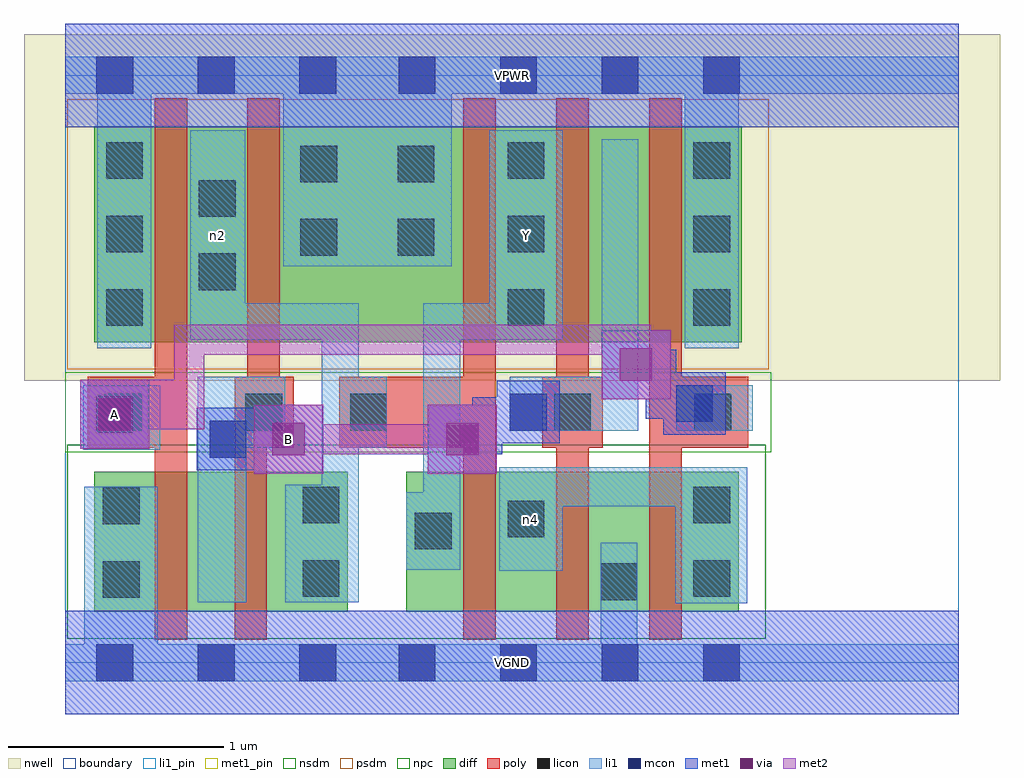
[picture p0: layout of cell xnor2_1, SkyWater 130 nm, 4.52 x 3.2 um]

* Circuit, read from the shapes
.subckt xnor2_1 A B VGND VPWR Y n2 n4
XM1 n1 A VGND VSUBS sky130_fd_pr__nfet_01v8 w=0.65 l=0.15
XM2 n2 B n1 VSUBS sky130_fd_pr__nfet_01v8 w=0.65 l=0.15
XM3 n4 n2 Y VSUBS sky130_fd_pr__nfet_01v8 w=0.65 l=0.15
XM4 VGND B n4 VSUBS sky130_fd_pr__nfet_01v8 w=0.65 l=0.15
XM5 n4 A VGND VSUBS sky130_fd_pr__nfet_01v8 w=0.65 l=0.15
XM6 n2 A VPWR n3 sky130_fd_pr__pfet_01v8 w=1 l=0.15
XM7 VPWR B n2 n3 sky130_fd_pr__pfet_01v8 w=1 l=0.15
XM8 Y n2 VPWR n3 sky130_fd_pr__pfet_01v8 w=1 l=0.15
XM9 n5 B Y n3 sky130_fd_pr__pfet_01v8 w=1 l=0.15
XM10 VPWR A n5 n3 sky130_fd_pr__pfet_01v8 w=1 l=0.15
.ends

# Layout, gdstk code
import gdstk
lib = gdstk.Library(unit=1e-6, precision=1e-09)
def R(c, l, rs):  # rectangles x0, y0, x1, y1
    for r in rs: c.add(gdstk.rectangle(r[:2], r[2:], *l))
def A(c, l, x, y, w, h, nx, ny, dx, dy):  # array of equal rectangles
    R(c, l, [(x+i*dx, y+j*dy, x+i*dx+w, y+j*dy+h) for i in range(nx) for j in range(ny)])
nwell = (64, 20)
diff = (65, 20)
poly = (66, 20)
licon = (66, 44)
li1_pin = (67, 16)
li1 = (67, 20)
mcon = (67, 44)
met1_pin = (68, 16)
met1 = (68, 20)
via = (68, 44)
met2 = (69, 20)
nsdm = (93, 44)
psdm = (94, 20)
npc = (95, 20)
boundary = (235, 4)

xnor2_1 = lib.new_cell('xnor2_1')
R(xnor2_1, nwell, [(-0.19,1.305,4.33,2.91), (0,1.305,4.14,2.91)])
R(xnor2_1, diff, [(0.135,0.235,1.31,0.885), (1.58,0.235,3.12,0.885), (0.135,1.485,3.135,2.485)])
A(xnor2_1, poly, 1.845, 0.105, 0.15, 2.51, 3, 1, 0.43, 0)
R(xnor2_1, poly, [(0.415,0.105,0.565,2.615), (0.785,0.105,0.935,1.325), (0.105,0.995,0.565,1.325), (0.785,0.995,1.06,1.325), (0.845,0.995,0.995,2.615), (1.27,0.995,1.995,1.325), (2.21,0.995,2.49,1.325), (2.705,0.995,3.165,1.325)])
A(xnor2_1, licon, 0.19, 1.56, 0.17, 0.17, 1, 3, 0, 0.34)
A(xnor2_1, licon, 2.05, 1.56, 0.17, 0.17, 1, 3, 0, 0.34)
A(xnor2_1, licon, 2.91, 1.56, 0.17, 0.17, 1, 3, 0, 0.34)
R(xnor2_1, licon, [(2.48,0.29,2.65,0.46), (0.175,0.3,0.345,0.47), (1.1,0.305,1.27,0.475), (2.91,0.305,3.08,0.475), (1.62,0.525,1.79,0.695), (2.05,0.58,2.22,0.75), (0.175,0.64,0.345,0.81), (1.1,0.645,1.27,0.815), (2.91,0.645,3.08,0.815), (0.185,1.075,0.355,1.245), (0.835,1.075,1.005,1.245), (1.32,1.075,1.49,1.245), (2.265,1.075,2.435,1.245), (2.915,1.075,3.085,1.245), (0.62,1.725,0.79,1.895), (1.09,1.885,1.26,2.055), (1.54,1.885,1.71,2.055), (0.62,2.065,0.79,2.235), (1.09,2.225,1.26,2.395), (1.54,2.225,1.71,2.395)])
R(xnor2_1, li1_pin, [(1.965,1.495,2.305,2.465)])
R(xnor2_1, li1, [(0,-0.085,4.14,0.085), (0.09,-0.085,0.43,0.815), (2.48,-0.085,2.65,0.555), (2.825,0.275,3.16,0.905), (0.615,0.28,0.84,1.325), (1.02,0.28,1.36,0.825), (1.19,0.28,1.36,1.665), (2.01,0.425,2.305,0.905), (1.58,0.43,1.83,0.79), (1.66,0.43,1.83,1.665), (2.01,0.725,3.16,0.905), (0.085,0.985,0.44,1.285), (0.615,0.995,1.02,1.325), (1.19,0.995,1.49,1.325), (2.06,1.075,2.655,1.325), (2.485,1.075,2.655,2.425), (2.83,1.075,3.185,1.285), (0.15,1.455,0.4,2.805), (2.87,1.455,3.12,2.805), (0.58,1.495,0.835,2.465), (0.58,1.495,1.36,1.665), (1.66,1.495,2.305,1.665), (1.965,1.495,2.305,2.465), (1.01,1.835,1.79,2.805), (0,2.635,4.14,2.805)])
A(xnor2_1, mcon, 0.145, -0.085, 0.17, 0.17, 3, 2, 0.47, 2.72)
A(xnor2_1, mcon, 1.545, -0.085, 0.17, 0.17, 4, 2, 0.47, 2.72)
R(xnor2_1, mcon, [(0.67,0.95,0.84,1.12), (0.145,1.065,0.315,1.235), (2.06,1.075,2.23,1.245), (2.83,1.115,3,1.285)])
R(xnor2_1, met1_pin, [(0,-0.24,4.14,0.24), (0.875,0.875,1.195,1.195), (0.07,0.99,0.39,1.31), (0,2.48,4.14,2.96)])
R(xnor2_1, met1, [(0,-0.24,4.14,0.24), (0.875,0.875,1.195,1.195), (1.68,0.875,2,1.195), (0.61,0.89,0.9,1.18), (0.685,0.965,0.99,1.105), (0.85,0.965,1.105,1.105), (1.77,0.965,2.025,1.105), (1.885,0.965,2.025,1.23), (0.07,0.99,0.39,1.31), (0.085,1.005,0.375,1.295), (2,1.015,2.29,1.305), (2.77,1.055,3.06,1.345), (1.885,1.09,2.215,1.23), (2.69,1.13,2.985,1.27), (2.69,1.13,2.83,1.45), (2.485,1.22,2.805,1.54), (2.575,1.31,2.83,1.45), (0,2.48,4.14,2.96)])
R(xnor2_1, via, [(0.96,0.96,1.11,1.11), (1.765,0.96,1.915,1.11), (0.155,1.075,0.305,1.225), (2.57,1.305,2.72,1.455)])
R(xnor2_1, met2, [(0.875,0.875,1.195,1.195), (1.68,0.875,2,1.195), (0.965,0.965,1.91,1.105), (0.07,0.99,0.39,1.31), (0.16,1.08,0.645,1.22), (0.39,1.08,0.505,1.31), (0.505,1.08,0.645,1.565), (2.485,1.22,2.805,1.54), (2.575,1.31,2.715,1.565), (0.505,1.425,2.715,1.565)])
R(xnor2_1, nsdm, [(0.01,0.11,3.245,1.01)])
R(xnor2_1, psdm, [(0.01,1.36,3.26,2.61)])
R(xnor2_1, npc, [(0,0.975,3.27,1.345)])
R(xnor2_1, boundary, [(0,0,4.14,2.72)])
xnor2_1.add(gdstk.Label('Y', (2.135,1.98), layer=67, texttype=5))
xnor2_1.add(gdstk.Label('n4', (2.157,0.665), layer=67, texttype=5))
xnor2_1.add(gdstk.Label('n2', (0.707,1.98), layer=67, texttype=5))
xnor2_1.add(gdstk.Label('B', (1.035,1.035), layer=68, texttype=5))
xnor2_1.add(gdstk.Label('A', (0.23,1.15), layer=68, texttype=5))
xnor2_1.add(gdstk.Label('VPWR', (2.07,2.72), layer=68, texttype=5))
xnor2_1.add(gdstk.Label('VGND', (2.07,0), layer=68, texttype=5))
xnor2_1.add(gdstk.Label('Y', (2.135,1.98), layer=67, texttype=16))
xnor2_1.add(gdstk.Label('B', (1.035,1.035), layer=68, texttype=16))
xnor2_1.add(gdstk.Label('A', (0.23,1.15), layer=68, texttype=16))
xnor2_1.add(gdstk.Label('VPWR', (2.07,2.72), layer=68, texttype=16))
xnor2_1.add(gdstk.Label('VGND', (2.07,0), layer=68, texttype=16))

lib.write_gds('xnor2_1.gds')
